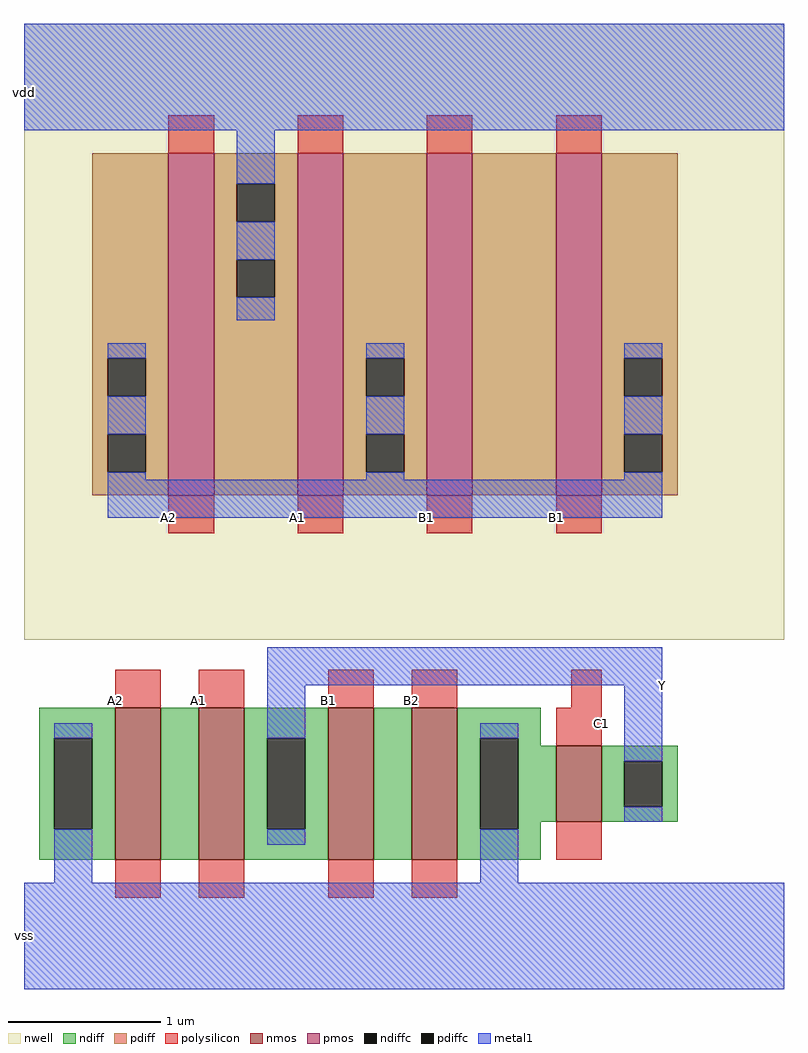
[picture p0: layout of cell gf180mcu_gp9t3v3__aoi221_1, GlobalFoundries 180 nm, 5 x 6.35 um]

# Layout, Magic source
magic
tech gf180mcuC
<< nwell >>
rect 0 41 100 122
<< nmos >>
rect 12 12 18 32
rect 23 12 29 32
rect 40 12 46 32
rect 51 12 57 32
rect 70 17 76 27
<< pmos >>
rect 19 60 25 105
rect 36 60 42 105
rect 53 60 59 105
rect 70 60 76 105
<< ndiff >>
rect 2 28 12 32
rect 2 16 4 28
rect 9 16 12 28
rect 2 12 12 16
rect 18 12 23 32
rect 29 28 40 32
rect 29 16 32 28
rect 37 16 40 28
rect 29 12 40 16
rect 46 12 51 32
rect 57 28 68 32
rect 57 16 60 28
rect 65 27 68 28
rect 65 17 70 27
rect 76 25 86 27
rect 76 19 79 25
rect 84 19 86 25
rect 76 17 86 19
rect 65 16 68 17
rect 57 12 68 16
<< pdiff >>
rect 9 78 19 105
rect 9 73 11 78
rect 16 73 19 78
rect 9 68 19 73
rect 9 63 11 68
rect 16 63 19 68
rect 9 60 19 63
rect 25 101 36 105
rect 25 96 28 101
rect 33 96 36 101
rect 25 91 36 96
rect 25 86 28 91
rect 33 86 36 91
rect 25 60 36 86
rect 42 78 53 105
rect 42 73 45 78
rect 50 73 53 78
rect 42 68 53 73
rect 42 63 45 68
rect 50 63 53 68
rect 42 60 53 63
rect 59 60 70 105
rect 76 78 86 105
rect 76 73 79 78
rect 84 73 86 78
rect 76 68 86 73
rect 76 63 79 68
rect 84 63 86 68
rect 76 60 86 63
<< ndiffc >>
rect 4 16 9 28
rect 32 16 37 28
rect 60 16 65 28
rect 79 19 84 25
<< pdiffc >>
rect 11 73 16 78
rect 11 63 16 68
rect 28 96 33 101
rect 28 86 33 91
rect 45 73 50 78
rect 45 63 50 68
rect 79 73 84 78
rect 79 63 84 68
<< polysilicon >>
rect 19 105 25 110
rect 36 105 42 110
rect 53 105 59 110
rect 70 105 76 110
rect 19 55 25 60
rect 36 55 42 60
rect 53 55 59 60
rect 70 55 76 60
rect 12 32 18 37
rect 23 32 29 37
rect 40 32 46 37
rect 51 32 57 37
rect 72 32 76 37
rect 70 27 76 32
rect 70 12 76 17
rect 12 7 18 12
rect 23 7 29 12
rect 40 7 46 12
rect 51 7 57 12
<< metal1 >>
rect 0 108 100 122
rect 28 101 33 108
rect 28 91 33 96
rect 28 83 33 86
rect 11 78 16 80
rect 11 68 16 73
rect 11 62 16 63
rect 45 78 50 80
rect 45 68 50 73
rect 45 62 50 63
rect 79 78 84 80
rect 79 68 84 73
rect 79 62 84 63
rect 11 57 84 62
rect 32 35 84 40
rect 4 28 9 30
rect 4 9 9 16
rect 32 28 37 35
rect 32 14 37 16
rect 60 28 65 30
rect 79 25 84 35
rect 79 17 84 19
rect 60 9 65 16
rect 0 -5 100 9
<< labels >>
rlabel metal1 0 113 0 113 3 vdd
rlabel metal1 0 2 0 2 3 vss
rlabel polysilicon 12 33 12 33 1 A2
rlabel polysilicon 23 33 23 33 1 A1
rlabel polysilicon 40 33 40 33 1 B1
rlabel polysilicon 51 33 51 33 1 B2
rlabel metal1 84 35 84 35 1 Y
rlabel polysilicon 76 30 76 30 1 C1
rlabel polysilicon 36 57 36 57 1 A1
rlabel polysilicon 19 57 19 57 1 A2
rlabel polysilicon 53 57 53 57 1 B1
rlabel polysilicon 70 57 70 57 1 B1
<< end >>
